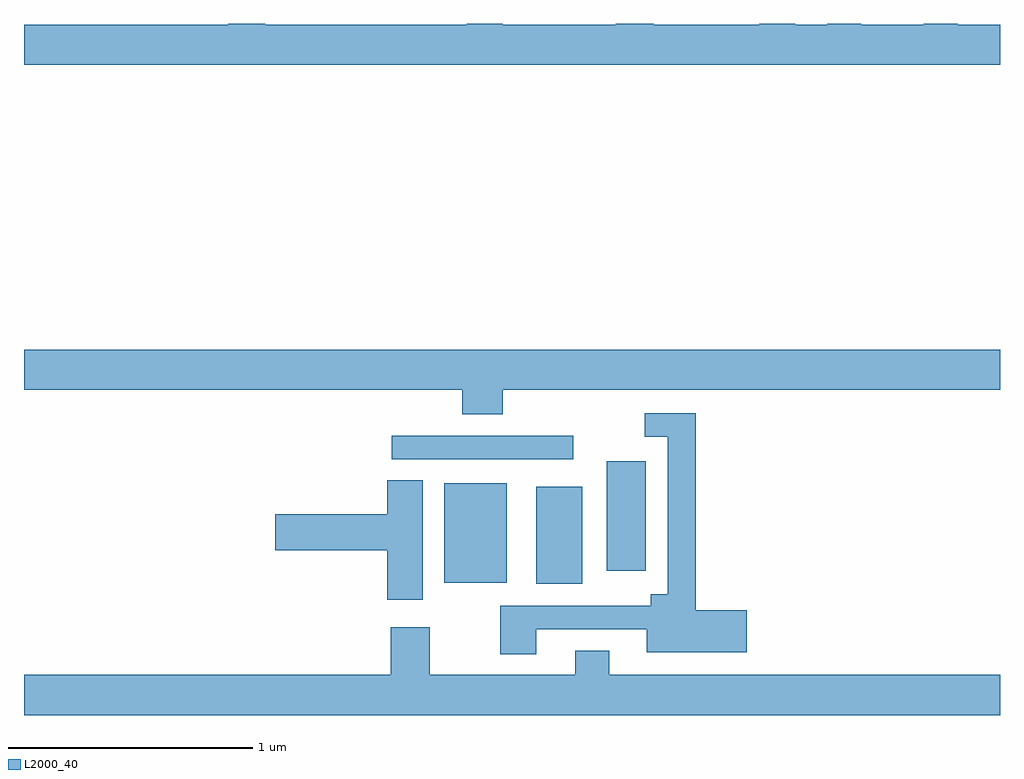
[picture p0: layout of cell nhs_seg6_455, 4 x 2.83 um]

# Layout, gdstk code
import gdstk
lib = gdstk.Library(unit=1e-6, precision=1e-09)
def R(c, l, rs):  # rectangles x0, y0, x1, y1
    for r in rs: c.add(gdstk.rectangle(r[:2], r[2:], *l))
def P(c, l, *ps):  # polygons
    for p in ps: c.add(gdstk.Polygon(p, *l))
L2000_40 = (2000, 40)

nhs_seg6_455 = lib.new_cell('nhs_seg6_455')
R(nhs_seg6_455, L2000_40, [(139.1,949.205,139.288,949.603), (138.722,949.211,138.979,949.618), (139.388,949.26,139.549,949.708), (138.507,949.716,139.252,949.812)])
P(nhs_seg6_455, L2000_40, [(141,951.496),(140.827,951.496),(140.827,951.5),(140.687,951.5),(140.687,951.496),(140.431,951.496),(140.431,951.5),(140.291,951.5),(140.291,951.496),(140.161,951.496),(140.161,951.5),(140.014,951.5),(140.014,951.496),(139.581,951.496),(139.581,951.5),(139.426,951.5),(139.426,951.496),(138.963,951.496),(138.963,951.5),(138.815,951.5),(138.815,951.496),(137.989,951.496),(137.989,951.5),(137.837,951.5),(137.837,951.496),(137,951.496),(137,951.332),(141,951.332)],
  [(138.962,950),(141,950),(141,950.164),(137,950.164),(137,950),(138.797,950),(138.797,949.901),(138.962,949.901)],
  [(139.099,949.02),(139.553,949.02),(139.553,948.926),(139.963,948.926),(139.963,949.097),(139.754,949.097),(139.754,949.905),(139.545,949.905),(139.545,949.809),(139.638,949.809),(139.638,949.162),(139.568,949.162),(139.568,949.116),(138.952,949.116),(138.952,948.918),(139.099,948.918)],
  [(138.634,949.631),(138.488,949.631),(138.488,949.49),(138.03,949.49),(138.03,949.343),(138.488,949.343),(138.488,949.14),(138.634,949.14)],
  [(141,948.832),(139.399,948.832),(139.399,948.931),(139.259,948.931),(139.259,948.832),(138.663,948.832),(138.663,949.027),(138.503,949.027),(138.503,948.832),(137,948.832),(137,948.668),(141,948.668)])

lib.write_gds('nhs_seg6_455.gds')
